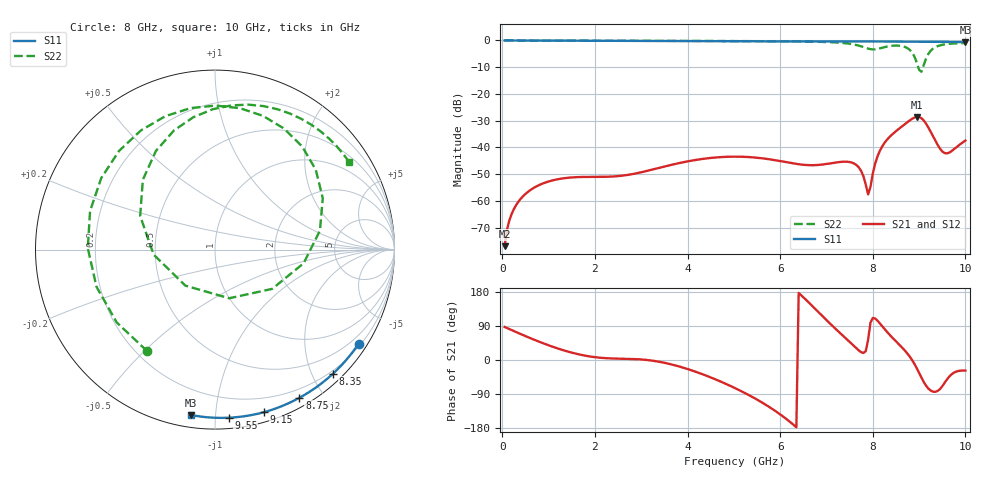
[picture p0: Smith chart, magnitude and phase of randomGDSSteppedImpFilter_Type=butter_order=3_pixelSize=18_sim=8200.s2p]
! freq	dB(S11)	phase(S11)	dB(S12)	phase(S12)
!  dB(S21)	phase(S21)	dB(S22)	phase(S22)
!S-par simulation data
#  GHz  S  DB  R 50
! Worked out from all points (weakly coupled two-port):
!   200 points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, 50 MHz to 10 GHz, reference 50 ohm
!   highest |S21| = -28.56 dB at 8.95 GHz (marker M1); lowest = -76.9 dB at 50 MHz (marker M2)
!   lowest |S11| = -0.6 dB at 10 GHz (marker M3), VSWR 28.08, Z = 3.11 - j43.1 ohm
!   |S11| at or under -10 dB: nowhere
!   |S22| runs from -11.7 to 0.0 dB; largest |S21 - S12| = 0
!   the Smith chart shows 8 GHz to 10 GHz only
!   S11 on the Smith chart (normalised r, x): 8 GHz: 0.27, -3.33; 8.35 GHz: 0.15, -2.32; 8.75 GHz: 0.10, -1.72; 9.15 GHz: 0.08, -1.34; 9.55 GHz: 0.07, -1.08; 10 GHz: 0.06, -0.86
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0.05  -0.00 -2.2  -76.92 87.2  -76.92 87.2  -0.00 -3.4
0.2  -0.01 -8.7  -64.95 79.0  -64.95 79.0  -0.02 -13.3
0.5  -0.03 -21.7  -57.39 63.1  -57.39 63.1  -0.05 -32.8
1.75  -0.10 -75.7  -51.03 12.4  -51.03 12.4  -0.11 -102.7
3.4  -0.20 -150.7  -47.57 -4.9  -47.57 -4.9  -0.15 -167.7
4.25  -0.27 165.7  -44.48 -34.2  -44.48 -34.2  -0.18 164.4
5.05  -0.33 120.5  -43.44 -75.6  -43.44 -75.6  -0.23 138.3
5.8  -0.35 76.2  -44.52 -126.7  -44.52 -126.7  -0.29 112.0
6.7  -0.36 25.9  -46.65 141.9  -46.65 141.9  -0.45 72.5
7.2  -0.36 1.1  -45.64 81.8  -45.64 81.8  -0.75 39.1
7.55  -0.37 -14.7  -45.68 41.8  -45.68 41.8  -1.38 -1.0
7.9  -0.38 -29.3  -57.57 54.0  -57.57 54.0  -3.04 -86.0
8  -0.39 -33.3  -49.83 110.8  -49.83 110.8  -3.35 -123.8
8.15  -0.40 -39.0  -41.36 97.1  -41.36 97.1  -2.99 179.4
8.35  -0.41 -46.4  -36.30 68.5  -36.30 68.5  -2.14 121.8
8.55  -0.43 -53.5  -33.23 43.2  -33.23 43.2  -1.94 79.9
8.75  -0.44 -60.3  -30.52 16.7  -30.52 16.7  -2.90 38.4
8.95  -0.46 -66.9  -28.56 -21.7  -28.56 -21.7  -8.26 -34.5
9.15  -0.48 -73.2  -31.11 -67.7  -31.11 -67.7  -6.80 155.8
9.3  -0.50 -77.9  -35.76 -83.5  -35.76 -83.5  -3.07 109.0
9.55  -0.54 -85.4  -42.09 -60.6  -42.09 -60.6  -1.47 71.2
10  -0.62 -98.3  -37.43 -27.9  -37.43 -27.9  -0.99 33.2
